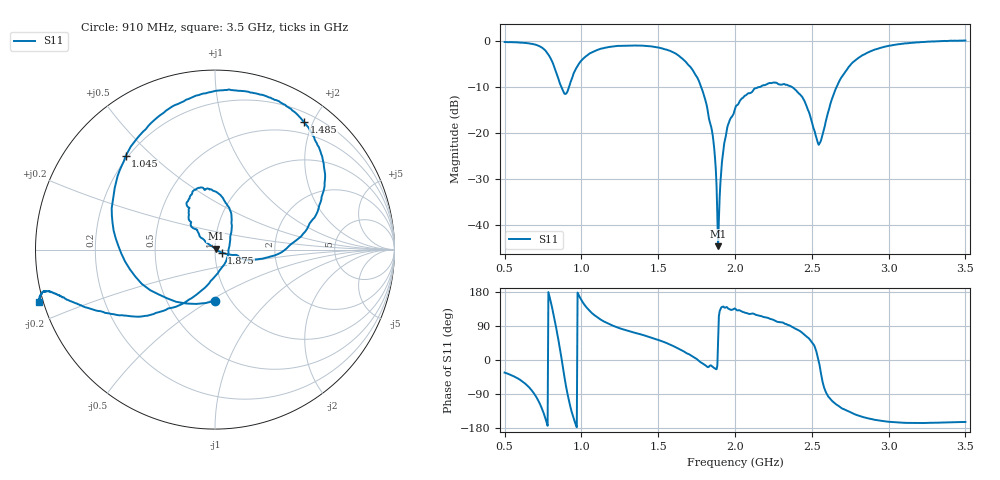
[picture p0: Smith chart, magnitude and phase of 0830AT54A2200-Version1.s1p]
!Agilent Technologies,E5071B,MY42100491,A.09.10
!Date: Wed Jan 24 19:39:20 2018
!Data & Calibration Information:
!Freq	S11:SOLT1(ON)
# Hz S dB R 50
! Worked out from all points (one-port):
!   601 points, 500 MHz to 3.5 GHz, reference 50 ohm
!   lowest |S11| = -44.7 dB at 1.89 GHz (marker M1), VSWR 1.01, Z = 50.4 + j0.464 ohm
!   |S11| at or under -10 dB: 870.3 MHz to 918.8 MHz (48.51 MHz wide, 5.42 % of centre); 1.78 GHz to 2.151 GHz (370.5 MHz wide, 18.9 % of centre); 2.373 GHz to 2.661 GHz (287.4 MHz wide, 11.4 % of centre)
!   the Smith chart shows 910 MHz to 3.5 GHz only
!   S11 on the Smith chart (normalised r, x): 910 MHz: 0.85, -0.53; 1.045 GHz: 0.19, +0.41; 1.485 GHz: 0.33, +1.87; 1.875 GHz: 1.08, -0.04; 3.5 GHz: -0.01, -0.15
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5e8  -0.13 -33.2
6.15e8  -0.28 -56.3
6.95e8  -0.67 -90.5
7.35e8  -1.19 -120.5
7.7e8  -2.19 -159.9
7.95e8  -3.41 163.2
8.2e8  -5.28 116.9
8.5e8  -8.12 53.5
8.75e8  -10.40 -7.5
9.1e8  -10.87 -90.5
9.7e8  -5.64 -177.6
1.045e9  -2.85 133.7
1.25e9  -0.97 83.6
1.485e9  -1.25 55.1
1.625e9  -2.92 31.3
1.8e9  -11.98 -12.1
1.855e9  -20.52 -18.0
1.875e9  -27.87 -23.9
1.89e9  -44.67 52.1
1.94e9  -20.69 138.6
2e9  -14.74 136.0
2.14e9  -10.16 118.9
2.375e9  -10.03 86.9
2.55e9  -22.27 -12.3
2.65e9  -10.83 -114.2
2.75e9  -5.18 -137.5
3.125e9  -0.39 -166.0
3.5e9  0.19 -163.5
